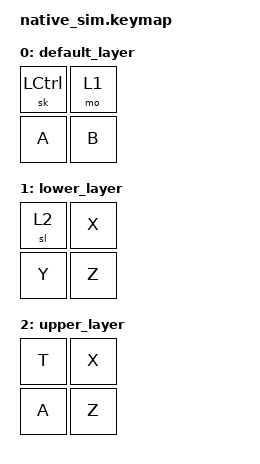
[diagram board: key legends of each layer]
#include <dt-bindings/zmk/keys.h>
#include <behaviors.dtsi>
#include <dt-bindings/zmk/input_mock.h>

/ {
    keymap {
        compatible = "zmk,keymap";

        default_layer {
            bindings = <
                &sk LEFT_CONTROL &mo 1
                &kp A &kp B>;
        };

        lower_layer {
            bindings = <
                &sl 2  &kp X
                &kp Y  &kp Z>;
        };

        upper_layer {
            bindings = <
                &kp T  &kp X
                &kp A  &kp Z>;
        };
    };
};

&mock_input {
    events = <
        /* tap sk LEFT_CONTROL */
        ZMK_INPUT_MOCK_PRESS(0,0,10)
        ZMK_INPUT_MOCK_RELEASE(0,0,10)
        /* switch to lower layer */
        ZMK_INPUT_MOCK_PRESS(0,1,10)
        /* tap sl upper_layer */
        ZMK_INPUT_MOCK_PRESS(0,0,10)
        ZMK_INPUT_MOCK_RELEASE(0,0,10)
        /* tap A */
        ZMK_INPUT_MOCK_PRESS(1,0,10)
        ZMK_INPUT_MOCK_RELEASE(1,0,10)
        /* deactivate lower layer */
        ZMK_INPUT_MOCK_RELEASE(0,1,10)
    >;
};
